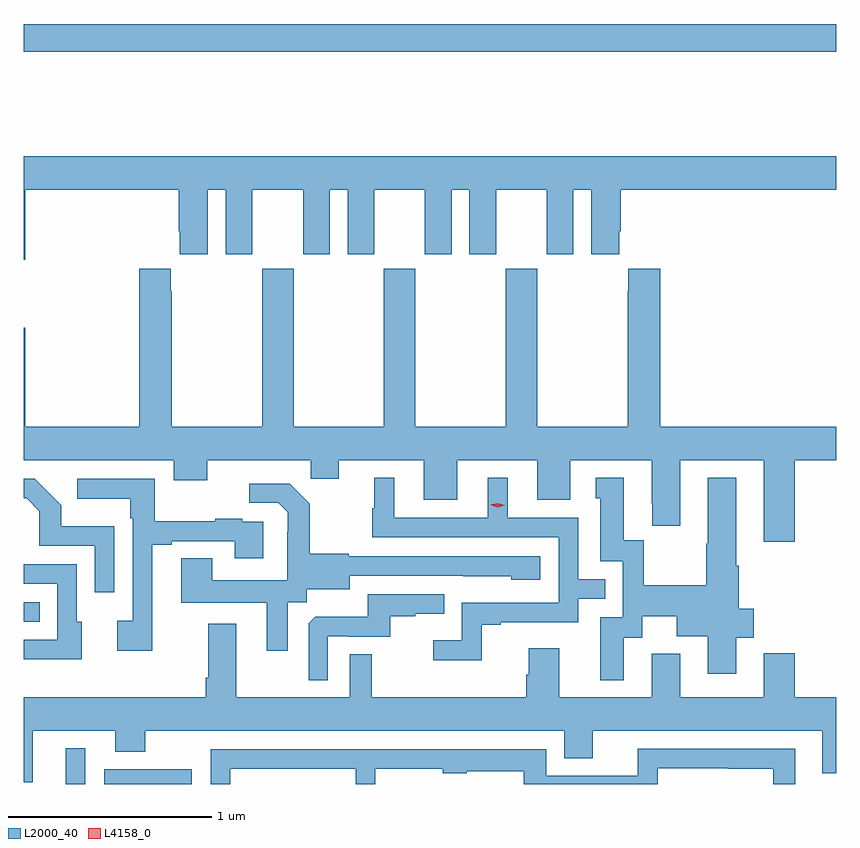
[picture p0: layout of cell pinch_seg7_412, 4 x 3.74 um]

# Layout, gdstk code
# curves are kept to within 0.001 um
import gdstk
lib = gdstk.Library(unit=1e-6, precision=1e-09)
def R(c, l, rs):  # rectangles x0, y0, x1, y1
    for r in rs: c.add(gdstk.rectangle(r[:2], r[2:], *l))
def P(c, l, *ps):  # polygons
    for p in ps: c.add(gdstk.Polygon(p, *l))
L2000_40 = (2000, 40)
L4158_0 = (4158, 0)

pinch_seg7_412 = lib.new_cell('pinch_seg7_412')
R(pinch_seg7_412, L2000_40, [(565.71,1011.01,565.806,1011.187), (565.901,1011.01,566.332,1011.082), (565.504,1011.81,565.583,1011.906), (565.504,1014.616,569.504,1014.752)])
P(pinch_seg7_412, L2000_40, [(565.511,1013.936),(566.267,1013.936),(566.267,1013.731),(566.273,1013.731),(566.273,1013.619),(566.41,1013.619),(566.41,1013.936),(566.498,1013.936),(566.498,1013.619),(566.629,1013.619),(566.629,1013.936),(566.879,1013.936),(566.879,1013.619),(567.01,1013.619),(567.01,1013.936),(567.098,1013.936),(567.098,1013.619),(567.229,1013.619),(567.229,1013.936),(567.479,1013.936),(567.479,1013.619),(567.61,1013.619),(567.61,1013.936),(567.698,1013.936),(567.698,1013.619),(567.829,1013.619),(567.829,1013.936),(568.079,1013.936),(568.079,1013.619),(568.21,1013.619),(568.21,1013.936),(568.298,1013.936),(568.298,1013.619),(568.435,1013.619),(568.435,1013.731),(568.442,1013.731),(568.442,1013.936),(569.504,1013.936),(569.504,1014.1),(565.504,1014.1),(565.504,1013.592),(565.511,1013.592)],
  [(568.637,1013.548),(568.481,1013.548),(568.481,1013.435),(568.477,1013.435),(568.477,1012.768),(568.032,1012.768),(568.032,1013.548),(567.877,1013.548),(567.877,1012.768),(567.432,1012.768),(567.432,1013.548),(567.277,1013.548),(567.277,1012.768),(566.832,1012.768),(566.832,1013.548),(566.677,1013.548),(566.677,1012.768),(566.232,1012.768),(566.232,1013.435),(566.227,1013.435),(566.227,1013.548),(566.072,1013.548),(566.072,1012.768),(565.511,1012.768),(565.511,1013.257),(565.504,1013.257),(565.504,1012.604),(566.243,1012.604),(566.243,1012.505),(566.407,1012.505),(566.407,1012.604),(566.917,1012.604),(566.917,1012.514),(567.055,1012.514),(567.055,1012.604),(567.473,1012.604),(567.473,1012.41),(567.637,1012.41),(567.637,1012.604),(568.031,1012.604),(568.031,1012.41),(568.195,1012.41),(568.195,1012.604),(568.595,1012.604),(568.595,1012.393),(568.598,1012.393),(568.598,1012.281),(568.735,1012.281),(568.735,1012.604),(569.147,1012.604),(569.147,1012.203),(569.3,1012.203),(569.3,1012.604),(569.504,1012.604),(569.504,1012.768),(568.637,1012.768)],
  [(567.759,1011.795),(567.853,1011.795),(567.853,1011.807),(568.233,1011.807),(568.233,1011.921),(568.367,1011.921),(568.367,1012.017),(568.233,1012.017),(568.233,1012.32),(567.886,1012.32),(567.886,1012.519),(567.788,1012.519),(567.788,1012.32),(567.328,1012.32),(567.328,1012.519),(567.23,1012.519),(567.23,1012.368),(567.219,1012.368),(567.219,1012.224),(568.137,1012.224),(568.137,1011.903),(567.66,1011.903),(567.66,1011.718),(567.519,1011.718),(567.519,1011.62),(567.759,1011.62)],
  [(568.459,1011.73),(568.549,1011.73),(568.549,1011.836),(568.718,1011.836),(568.718,1011.737),(568.871,1011.737),(568.871,1011.552),(569.011,1011.552),(569.011,1011.73),(569.098,1011.73),(569.098,1011.872),(569.024,1011.872),(569.024,1012.084),(569.011,1012.084),(569.011,1012.519),(568.871,1012.519),(568.871,1012.193),(568.864,1012.193),(568.864,1011.988),(568.557,1011.988),(568.557,1012.211),(568.459,1012.211),(568.459,1012.519),(568.319,1012.519),(568.319,1012.416),(568.343,1012.416),(568.343,1012.107),(568.452,1012.107),(568.452,1011.831),(568.343,1011.831),(568.343,1011.522),(568.459,1011.522)],
  [(566.137,1012.188),(566.233,1012.188),(566.233,1012.206),(566.543,1012.206),(566.543,1012.122),(566.683,1012.122),(566.683,1012.302),(566.579,1012.302),(566.579,1012.315),(566.447,1012.315),(566.447,1012.304),(566.149,1012.304),(566.149,1012.512),(565.767,1012.512),(565.767,1012.415),(566.028,1012.415),(566.028,1012.319),(566.04,1012.319),(566.04,1011.814),(565.965,1011.814),(565.965,1011.666),(566.137,1011.666)],
  [(565.95,1012.279),(565.689,1012.279),(565.689,1012.382),(565.558,1012.512),(565.504,1012.512),(565.504,1012.416),(565.518,1012.416),(565.581,1012.353),(565.581,1012.182),(565.854,1012.182),(565.854,1011.954),(565.95,1011.954)],
  [(566.803,1011.904),(566.898,1011.904),(566.898,1011.968),(567.109,1011.968),(567.109,1012.035),(567.903,1012.034),(567.903,1012.016),(568.048,1012.016),(568.048,1012.131),(567.105,1012.131),(567.105,1012.144),(566.913,1012.144),(566.913,1012.389),(566.813,1012.489),(566.613,1012.489),(566.613,1012.395),(566.757,1012.395),(566.804,1012.348),(566.804,1012.253),(566.802,1012.253),(566.802,1012.012),(566.431,1012.012),(566.431,1012.121),(566.279,1012.121),(566.279,1011.902),(566.699,1011.902),(566.699,1011.666),(566.803,1011.666)],
  [(565.789,1011.81),(565.764,1011.81),(565.764,1012.092),(565.504,1012.092),(565.504,1011.996),(565.668,1011.996),(565.668,1011.72),(565.504,1011.72),(565.504,1011.624),(565.571,1011.624),(565.571,1011.623),(565.789,1011.623)],
  [(567,1011.738),(567.1,1011.738),(567.1,1011.735),(567.308,1011.735),(567.308,1011.837),(567.431,1011.837),(567.431,1011.848),(567.575,1011.848),(567.575,1011.945),(567.198,1011.945),(567.198,1011.833),(566.939,1011.833),(566.907,1011.801),(566.907,1011.521),(567,1011.521)],
  [(565.549,1011.272),(565.955,1011.272),(565.955,1011.17),(566.103,1011.17),(566.103,1011.272),(568.166,1011.272),(568.166,1011.136),(568.306,1011.136),(568.306,1011.272),(569.435,1011.272),(569.435,1011.064),(569.504,1011.064),(569.504,1011.436),(569.3,1011.436),(569.3,1011.655),(569.147,1011.655),(569.147,1011.436),(568.735,1011.436),(568.735,1011.652),(568.595,1011.652),(568.595,1011.436),(568.141,1011.436),(568.141,1011.679),(567.989,1011.679),(567.989,1011.549),(567.977,1011.549),(567.977,1011.436),(567.217,1011.436),(567.217,1011.65),(567.108,1011.65),(567.108,1011.436),(566.551,1011.436),(566.551,1011.799),(566.411,1011.799),(566.411,1011.532),(566.399,1011.532),(566.399,1011.436),(565.504,1011.436),(565.504,1011.018),(565.549,1011.018)],
  [(566.52,1011.084),(567.138,1011.084),(567.138,1011.01),(567.234,1011.01),(567.234,1011.084),(567.568,1011.084),(567.568,1011.064),(567.684,1011.064),(567.684,1011.072),(567.965,1011.072),(567.965,1011.01),(568.626,1011.01),(568.626,1011.087),(568.969,1011.087),(568.969,1011.085),(569.193,1011.085),(569.193,1011.01),(569.302,1011.01),(569.302,1011.183),(568.528,1011.183),(568.528,1011.051),(568.077,1011.051),(568.077,1011.18),(566.424,1011.18),(566.424,1011.01),(566.52,1011.01)])
P(pinch_seg7_412, L4158_0, [(567.837,1012.373),(567.801,1012.384),(567.801,1012.384),(567.801,1012.384),(567.837,1012.393),(567.873,1012.382),(567.873,1012.382),(567.873,1012.382)])

lib.write_gds('pinch_seg7_412.gds')
